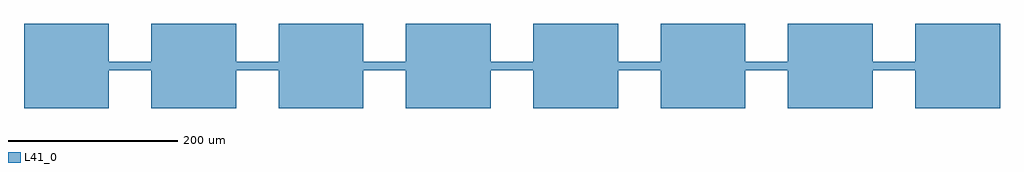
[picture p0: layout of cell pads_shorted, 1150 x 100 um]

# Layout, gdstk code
import gdstk
lib = gdstk.Library(unit=1e-6, precision=1e-09)
def R(c, l, rs):  # rectangles x0, y0, x1, y1
    for r in rs: c.add(gdstk.rectangle(r[:2], r[2:], *l))
def A(c, l, x, y, w, h, nx, ny, dx, dy):  # array of equal rectangles
    R(c, l, [(x+i*dx, y+j*dy, x+i*dx+w, y+j*dy+h) for i in range(nx) for j in range(ny)])
L41_0 = (41, 0)

pads_shorted = lib.new_cell('pads_shorted')
A(pads_shorted, L41_0, -575, -50, 100, 100, 8, 1, 150, 0)
R(pads_shorted, L41_0, [(-525,-5,525,5)])

lib.write_gds('pads_shorted.gds')
